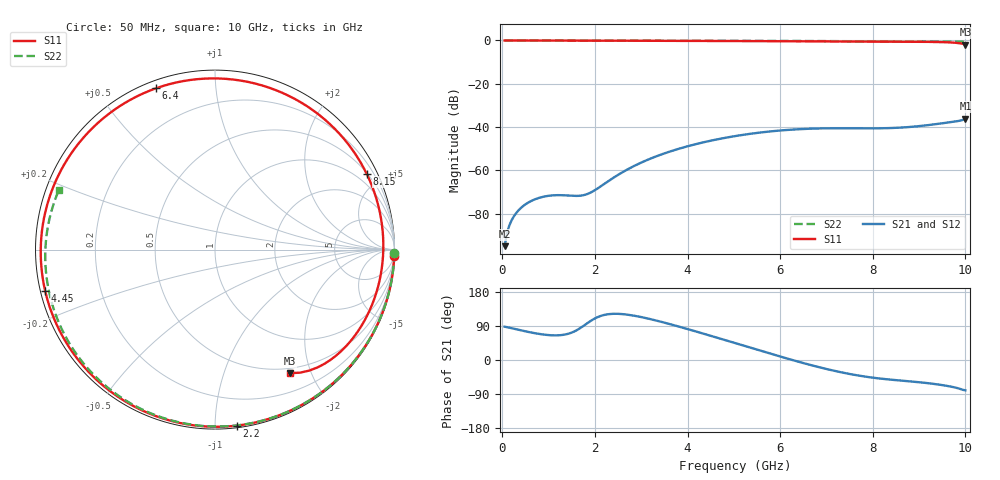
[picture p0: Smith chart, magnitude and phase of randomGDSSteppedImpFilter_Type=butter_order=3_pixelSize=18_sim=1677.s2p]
! freq	dB(S11)	phase(S11)	dB(S12)	phase(S12)
!  dB(S21)	phase(S21)	dB(S22)	phase(S22)
!S-par simulation data
#  GHz  S  DB  R 50
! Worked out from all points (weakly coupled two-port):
!   200 points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, 50 MHz to 10 GHz, reference 50 ohm
!   highest |S21| = -36.10 dB at 10 GHz (marker M1); lowest = -95.1 dB at 50 MHz (marker M2)
!   lowest |S11| = -1.9 dB at 10 GHz (marker M3), VSWR 9.25, Z = 21.6 - j84.5 ohm
!   |S11| at or under -10 dB: nowhere
!   |S22| runs from -0.6 to 0.0 dB; largest |S21 - S12| = 0
!   S11 on the Smith chart (normalised r, x): 50 MHz: 2, -60; 2.2 GHz: 0.01, -1.13; 4.45 GHz: 0.01, -0.12; 6.4 GHz: 0.03, +0.70; 8.15 GHz: 0.53, +4.17; 10 GHz: 0.43, -1.69
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0.05  -0.01 -1.9  -95.07 87.9  -95.07 87.9  -0.00 -1.2
0.3  -0.01 -11.6  -79.77 81.1  -79.77 81.1  -0.01 -6.8
0.55  -0.03 -21.2  -75.05 74.4  -75.05 74.4  -0.01 -12.5
0.9  -0.04 -34.5  -72.15 67.0  -72.15 67.0  -0.02 -20.3
1.75  -0.08 -66.3  -71.52 89.7  -71.52 89.7  -0.05 -39.0
2.2  -0.10 -82.9  -66.34 118.9  -66.34 118.9  -0.06 -48.7
2.8  -0.13 -104.8  -58.50 117.9  -58.50 117.9  -0.08 -61.4
3.4  -0.16 -126.7  -52.95 101.8  -52.95 101.8  -0.10 -73.6
3.95  -0.20 -147.2  -49.21 83.5  -49.21 83.5  -0.12 -84.6
4.45  -0.23 -166.3  -46.56 65.7  -46.56 65.7  -0.13 -94.3
5.05  -0.28 169.7  -44.11 43.8  -44.11 43.8  -0.16 -105.7
5.7  -0.33 142.0  -42.23 20.0  -42.23 20.0  -0.20 -117.8
6.4  -0.38 110.1  -41.02 -4.7  -41.02 -4.7  -0.24 -130.7
6.7  -0.40 95.8  -40.75 -14.6  -40.75 -14.6  -0.26 -136.2
7.35  -0.44 64.5  -40.57 -33.3  -40.57 -33.3  -0.32 -148.1
7.75  -0.47 45.3  -40.61 -42.2  -40.61 -42.2  -0.35 -155.6
8.15  -0.49 26.6  -40.59 -48.9  -40.59 -48.9  -0.39 -163.1
8.35  -0.51 17.5  -40.50 -51.4  -40.50 -51.4  -0.41 -167.0
8.8  -0.57 -2.3  -39.98 -56.4  -39.98 -56.4  -0.47 -175.7
9.25  -0.67 -21.4  -38.98 -62.0  -38.98 -62.0  -0.52 175.2
9.7  -0.95 -41.2  -37.69 -70.5  -37.69 -70.5  -0.58 165.7
10  -1.89 -58.9  -36.10 -80.0  -36.10 -80.0  -0.62 159.1
